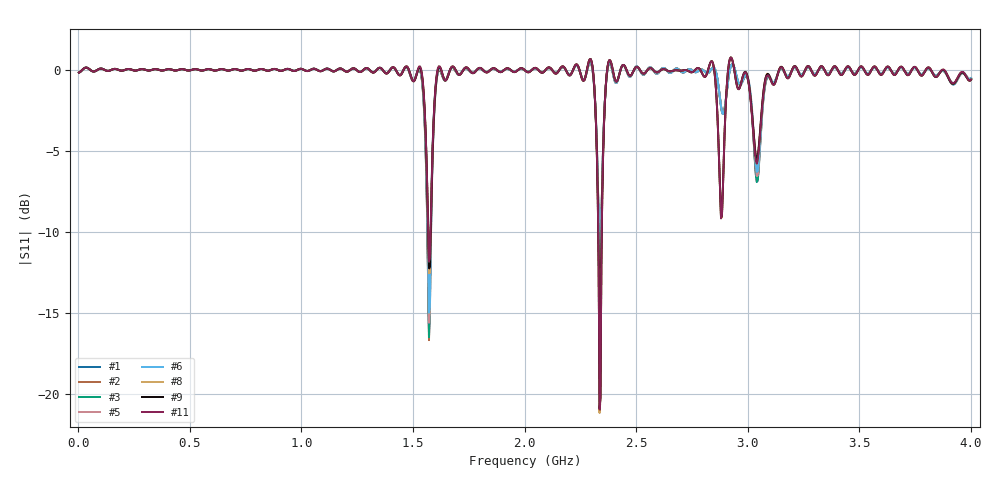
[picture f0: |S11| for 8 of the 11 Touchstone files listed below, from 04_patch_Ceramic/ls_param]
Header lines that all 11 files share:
! TOUCHSTONE file generated by CST MICROWAVE STUDIO
! Project name: AppElm_antenne_patch_Alumina.cst
! Header version: 2018
! Port assignment regex: !\s*Touchstone port\s*([0-9]+)\s*=\s*(CST MWS port|CST DS port)\s*([0-9]+|Zmin|Zmax)\s*\(\"(.*)\"\)(\s*mode\s*([0-9]+))?.*
! Touchstone port assignment:
! Touchstone port 1 = CST MWS port 1 ("")
# GHz S MA R 50
Fixed: L = 30.5, W = 41.8, e = 0.035, h = 1.6, lambda = 0.190476, w0 = 1.12, w1 = 0.373, ws = 90, y0 = 14, y1 = 10
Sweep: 4 MHz to 4 GHz
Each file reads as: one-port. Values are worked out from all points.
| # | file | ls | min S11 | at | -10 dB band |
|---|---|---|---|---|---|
| 1 | AppElm_antenne_patch_Alumina_1.s1p | 67.5 | -16.2 dB | 1.572 GHz | 15.01 MHz wide |
| 2 | AppElm_antenne_patch_Alumina_2.s1p | 72 | -16.7 dB | 1.572 GHz | 15.48 MHz wide |
| 3 | AppElm_antenne_patch_Alumina_3.s1p | 76.5 | -16.5 dB | 1.572 GHz | 15.61 MHz wide |
| 4 | AppElm_antenne_patch_Alumina_4.s1p | 81 | -16.1 dB | 1.572 GHz | 15.53 MHz wide |
| 5 | AppElm_antenne_patch_Alumina_5.s1p | 85.5 | -15.6 dB | 1.572 GHz | 15.21 MHz wide |
| 6 | AppElm_antenne_patch_Alumina_6.s1p | 90 | -15.0 dB | 1.572 GHz | 14.73 MHz wide |
| 7 | AppElm_antenne_patch_Alumina_7.s1p | 94.5 | -14.1 dB | 1.572 GHz | 13.7 MHz wide |
| 8 | AppElm_antenne_patch_Alumina_8.s1p | 99 | -21.2 dB | 2.336 GHz | 15.95 MHz wide |
| 9 | AppElm_antenne_patch_Alumina_9.s1p | 103.5 | -20.9 dB | 2.336 GHz | 15.91 MHz wide |
| 10 | AppElm_antenne_patch_Alumina_10.s1p | 108 | -20.9 dB | 2.336 GHz | 15.9 MHz wide |
| 11 | AppElm_antenne_patch_Alumina_11.s1p | 112.5 | -21.0 dB | 2.336 GHz | 15.9 MHz wide |
